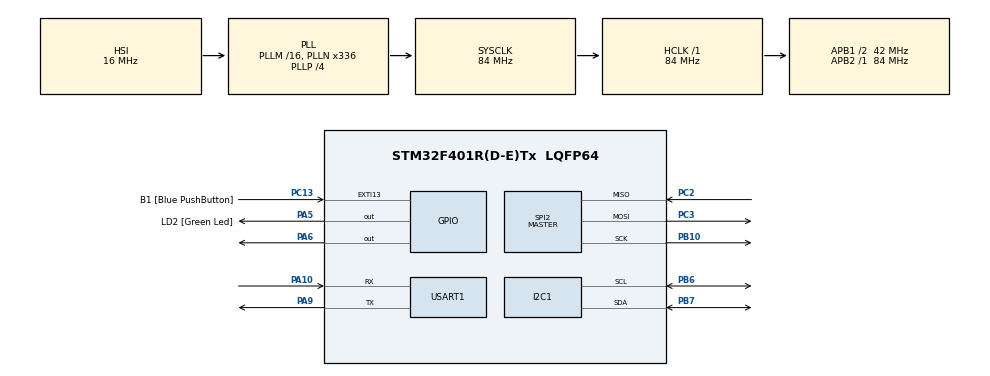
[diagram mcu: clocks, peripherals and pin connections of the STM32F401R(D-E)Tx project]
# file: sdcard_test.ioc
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FATFS._MAX_SS=4096
FATFS._USE_LFN=1
Mcu.Family=STM32F4
Mcu.Name=STM32F401R(D-E)Tx
Mcu.Package=LQFP64
NVIC.PriorityGroup=NVIC_PRIORITYGROUP_4
NVIC.TIM4_IRQn=true\:15\:0\:false\:false\:true\:false\:true\:true
NVIC.TimeBase=TIM4_IRQn
NVIC.TimeBaseIP=TIM4
PA10.Mode=Asynchronous
PA10.Signal=USART1_RX
PA13.GPIO_Label=TMS
PA13.Signal=SYS_JTMS-SWDIO
PA14.GPIO_Label=TCK
PA14.Signal=SYS_JTCK-SWCLK
PA2.GPIO_Label=USART_TX
PA2.GPIO_Mode=GPIO_MODE_AF_PP
PA2.GPIO_PuPd=GPIO_NOPULL
PA2.GPIO_Speed=GPIO_SPEED_FREQ_LOW
PA2.Signal=USART2_TX
PA3.GPIO_Label=USART_RX
PA3.GPIO_Mode=GPIO_MODE_AF_PP
PA3.GPIO_PuPd=GPIO_NOPULL
PA3.GPIO_Speed=GPIO_SPEED_FREQ_LOW
PA3.Signal=USART2_RX
PA5.GPIO_Label=LD2 [Green Led]
PA5.GPIO_Mode=GPIO_MODE_OUTPUT_PP
PA5.GPIO_PuPd=GPIO_NOPULL
PA5.GPIO_Speed=GPIO_SPEED_FREQ_LOW
PA5.Signal=GPIO_Output
PA6.Signal=GPIO_Output
PA9.Mode=Asynchronous
PA9.Signal=USART1_TX
PB10.Mode=Full_Duplex_Master
PB10.Signal=SPI2_SCK
PB3.GPIO_Label=SWO
PB3.Signal=SYS_JTDO-SWO
PB6.Mode=I2C
PB6.Signal=I2C1_SCL
PB7.Mode=I2C
PB7.Signal=I2C1_SDA
PC13-ANTI_TAMP.GPIO_Label=B1 [Blue PushButton]
PC13-ANTI_TAMP.GPIO_ModeDefaultEXTI=GPIO_MODE_IT_FALLING
PC13-ANTI_TAMP.GPIO_PuPd=GPIO_NOPULL
PC13-ANTI_TAMP.Signal=GPXTI13
PC14-OSC32_IN.Signal=RCC_OSC32_IN
PC15-OSC32_OUT.Signal=RCC_OSC32_OUT
PC2.Mode=Full_Duplex_Master
PC2.Signal=SPI2_MISO
PC3.Mode=Full_Duplex_Master
PC3.Signal=SPI2_MOSI
PH0\ -\ OSC_IN.Signal=RCC_OSC_IN
PH1\ -\ OSC_OUT.Signal=RCC_OSC_OUT
ProjectManager.HeapSize=0x200
ProjectManager.StackSize=0x400
ProjectManager.TargetToolchain=STM32CubeIDE
RCC.AHBFreq_Value=84000000
RCC.APB1CLKDivider=RCC_HCLK_DIV2
RCC.APB1Freq_Value=42000000
RCC.APB1TimFreq_Value=84000000
RCC.APB2Freq_Value=84000000
RCC.APB2TimFreq_Value=84000000
RCC.CortexFreq_Value=84000000
RCC.HCLKFreq_Value=84000000
RCC.HSE_VALUE=8000000
RCC.HSI_VALUE=16000000
RCC.LSE_VALUE=32768
RCC.PLLN=336
RCC.PLLP=RCC_PLLP_DIV4
RCC.PLLQ=7
RCC.SYSCLKFreq_VALUE=84000000
RCC.SYSCLKSource=RCC_SYSCLKSOURCE_PLLCLK
RCC.VCOOutputFreq_Value=336000000
SPI2.BaudRatePrescaler=SPI_BAUDRATEPRESCALER_8
SPI2.Direction=SPI_DIRECTION_2LINES
SPI2.Mode=SPI_MODE_MASTER
SPI2.VirtualType=VM_MASTER
USART1.VirtualMode=VM_ASYNC
VP_FATFS_VS_Generic.Mode=User_defined
VP_SYS_VS_tim4.Mode=TIM4
board=NUCLEO-F401RE

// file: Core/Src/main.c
/* USER CODE BEGIN Header */
/**
  ******************************************************************************
  * @file           : main.c
  * @brief          : Main program body
  ******************************************************************************
  * @attention
  *
  * Copyright (c) 2025 STMicroelectronics.
  * All rights reserved.
  *
  * This software is licensed under terms that can be found in the LICENSE file
  * in the root directory of this software component.
  * If no LICENSE file comes with this software, it is provided AS-IS.
  *
  ******************************************************************************
  */
/* USER CODE END Header */
#include "main.h"
#include "fatfs.h"

/* USER CODE BEGIN Includes */
#include "fatfs_sd.h"
#include <string.h>
#include <stdio.h>
#include "FreeRTOS.h"
#include "task.h"
#include "queue.h"
#include "LCD_I2C.h"
#include "print_cli.h"
#include "flash.h"
/* USER CODE END Includes */

I2C_HandleTypeDef hi2c1;

SPI_HandleTypeDef hspi2;

UART_HandleTypeDef huart1;

void SystemClock_Config(void);
static void MX_GPIO_Init(void);
static void MX_SPI2_Init(void);
static void MX_I2C1_Init(void);
static void MX_USART1_UART_Init(void);

/* USER CODE BEGIN 0 */
volatile uint8_t FatFsCnt = 0;
volatile uint8_t Timer1, Timer2;

void SDTimer_Handler(void)
{
  if(Timer1 > 0)
    Timer1--;

  if(Timer2 > 0)
    Timer2--;
}

FATFS fs;  // file system
FIL fil; // File
FILINFO fno;
FRESULT fresult;  // result
UINT br, bw;  // File read/write count

/**** capacity related *****/
FATFS *pfs;
DWORD fre_clust;
uint32_t total, free_space;

#define BUFFER_SIZE 5000
char buffer[BUFFER_SIZE];  // to store strings..

TaskHandle_t handle_sensor_task;
TaskHandle_t handle_print_task;
TaskHandle_t handle_scan_keypad_task;
TaskHandle_t handle_config_task;

void sensor_task(void *param);
void print_task(void *param);
void scan_keypad_task(void *param);
void config_task(void *param);

QueueHandle_t q_print;

CLCD_I2C_Name LCD1;

int bufsize (char *buf)
{
	int i=0;
	while (*buf++ != '\0') i++;
	return i;
}
typedef struct
{
	uint8_t password[11];
	uint8_t s1;
	uint8_t t1;
	uint8_t s2;
	uint8_t t2;
	uint16_t file_counter;
}__attribute__((packed))Parameter_Infor;

void clear_buffer (void)
{
	for (int i=0; i<BUFFER_SIZE; i++) buffer[i] = '\0';
}

Parameter_Infor parameter =
{
		"123123",
		80,
		5,
		20,
		5,
		0
};

Parameter_Infor parameter_read;

char str[15];
int temperature = 15;
/* USER CODE END 0 */

int main(void)
{

  /* USER CODE BEGIN 1 */
	BaseType_t status;
  /* USER CODE END 1 */

  /* MCU Configuration--------------------------------------------------------*/

  /* Reset of all peripherals, Initializes the Flash interface and the Systick. */
  HAL_Init();

  /* Configure the system clock */
  SystemClock_Config();

  /* Initialize all configured peripherals */
  MX_GPIO_Init();
  MX_SPI2_Init();
  MX_FATFS_Init();
  MX_I2C1_Init();
  MX_USART1_UART_Init();
  /* USER CODE BEGIN 2 */
//    fresult = f_mount(&fs, "/", 1);
//  	if (fresult != FR_OK)  printf("ERROR!!! in mounting SD CARD...\n\n");
//  	else printf("SD CARD mounted successfully...\n\n");
//
//
//  	/*************** Card capacity details ********************/
//
//  	/* Check free space */
//  	f_getfree("", &fre_clust, &pfs);
//
//  	total = (uint32_t)((pfs->n_fatent - 2) * pfs->csize * 0.5);
//  	printf("SD CARD Total Size: \t%lu\n",total);
//  	free_space = (uint32_t)(fre_clust * pfs->csize * 0.5);
//  	printf("SD CARD Free Space: \t%lu\n\n",free_space);
//
//
//
//  	/************* The following operation is using PUTS and GETS *********************/
//
//  	/* Open file to write/ create a file if it doesn't exist */
//      fresult = f_open(&fil, "file1.txt", FA_OPEN_ALWAYS | FA_READ | FA_WRITE);
//
//  	/* Writing text */
//  	f_puts("This data is from the FILE1.txt. And it was written using ...f_puts... ", &fil);
//
//  	/* Close file */
//  	fresult = f_close(&fil);
//
//  	if (fresult == FR_OK) printf("File1.txt created and the data is written \n");
//
//  	/* Open file to read */
//  	fresult = f_open(&fil, "file1.txt", FA_READ);
//
//  	/* Read string from the file */
//  	f_gets(buffer, f_size(&fil), &fil);
//
//  	printf("File1.txt is opened and it contains the data as shown below\n");
//  	printf("%s",buffer);
//  	printf("\n\n");
//
//  	/* Close file */
//  	f_close(&fil);
  // write parameter into flash
//     flash_unlock();
//     if(flash_erease(FLASH_SECTOR_6) != HAL_OK){
//    	 flash_erease(FLASH_SECTOR_6);
//     }
//     flash_write_arr(0x08040000,(uint8_t *)&parameter,sizeof(parameter));
//     flash_lock();

  // read parameter from flash
//  flash_unlock();
  flash_read_arr(0x08040000, (uint8_t*)&parameter_read, sizeof(parameter_read));
//  flash_lock();
  print_cli("read first - s1:%d s2:%d s3:%d s4:%d count:%d\n",parameter_read.s1,parameter_read.t1,parameter_read.s2,parameter_read.t2,parameter_read.file_counter);

  sprintf(str, "file%d.txt", parameter_read.file_counter);
  print_cli("%s\n",str);
  parameter_read.file_counter = parameter_read.file_counter + 1;
       flash_unlock();
       if(flash_erease(FLASH_SECTOR_6) != HAL_OK){
      	 flash_erease(FLASH_SECTOR_6);
       }
       flash_write_arr(0x08040000,(uint8_t *)&parameter_read,sizeof(parameter_read));
       flash_lock();

    fresult = f_mount(&fs, "/", 1);
	if (fresult != FR_OK)  print_cli("ERROR!!! in mounting SD CARD...\n\n");
	else print_cli("SD CARD mounted successfully...\n\n");

				  	fresult = f_open(&fil, "file80.txt", FA_READ);
				  	if (fresult == FR_OK) print_cli("file2.txt is open and the data is shown below\n");

				  	UINT file_size = f_size(&fil);
					if (file_size == 0 || file_size > sizeof(buffer)) {
					    print_cli("File size is invalid! %u\n",file_size);
					    f_close(&fil);
					    return;
					}
				  	/* Read data from the file
				  	 * Please see the function details for the arguments */
				  	f_read (&fil, buffer, f_size(&fil), &br);
				  	print_cli(buffer);
				  	print_cli("\n\n");

				  	/* Close file */
				  	f_close(&fil);

				  	clear_buffer();
	CLCD_I2C_Init(&LCD1,&hi2c1,0x4e,20,4);
	CLCD_I2C_SetCursor(&LCD1, 0, 0);

    status = xTaskCreate(sensor_task, "sensor_task", 250, NULL, 2, &handle_sensor_task);

    configASSERT(status);

    status = xTaskCreate(scan_keypad_task, "scan_keypad_task", 250, NULL, 2, &handle_scan_keypad_task);

    configASSERT(status);

    status = xTaskCreate(config_task, "config_task", 250, NULL, 2, &handle_config_task);

    configASSERT(status);

    status = xTaskCreate(print_task, "print_task", 500, NULL, 2, &handle_print_task);

    configASSERT(status);

    q_print = xQueueCreate(10, sizeof(size_t));

    configASSERT(q_print != NULL);

    printf("created tasks sucessfully\n");

    vTaskStartScheduler();
  /* USER CODE END 2 */

  /* Infinite loop */
  while (1)
  {

  }
}

void SystemClock_Config(void)
{
  RCC_OscInitTypeDef RCC_OscInitStruct = {0};
  RCC_ClkInitTypeDef RCC_ClkInitStruct = {0};

  /** Configure the main internal regulator output voltage
  */
  __HAL_RCC_PWR_CLK_ENABLE();
  __HAL_PWR_VOLTAGESCALING_CONFIG(PWR_REGULATOR_VOLTAGE_SCALE2);

  /** Initializes the RCC Oscillators according to the specified parameters
  * in the RCC_OscInitTypeDef structure.
  */
  RCC_OscInitStruct.OscillatorType = RCC_OSCILLATORTYPE_HSI;
  RCC_OscInitStruct.HSIState = RCC_HSI_ON;
  RCC_OscInitStruct.HSICalibrationValue = RCC_HSICALIBRATION_DEFAULT;
  RCC_OscInitStruct.PLL.PLLState = RCC_PLL_ON;
  RCC_OscInitStruct.PLL.PLLSource = RCC_PLLSOURCE_HSI;
  RCC_OscInitStruct.PLL.PLLM = 16;
  RCC_OscInitStruct.PLL.PLLN = 336;
  RCC_OscInitStruct.PLL.PLLP = RCC_PLLP_DIV4;
  RCC_OscInitStruct.PLL.PLLQ = 7;
  if (HAL_RCC_OscConfig(&RCC_OscInitStruct) != HAL_OK)
  {
    Error_Handler();
  }

  /** Initializes the CPU, AHB and APB buses clocks
  */
  RCC_ClkInitStruct.ClockType = RCC_CLOCKTYPE_HCLK|RCC_CLOCKTYPE_SYSCLK
                              |RCC_CLOCKTYPE_PCLK1|RCC_CLOCKTYPE_PCLK2;
  RCC_ClkInitStruct.SYSCLKSource = RCC_SYSCLKSOURCE_PLLCLK;
  RCC_ClkInitStruct.AHBCLKDivider = RCC_SYSCLK_DIV1;
  RCC_ClkInitStruct.APB1CLKDivider = RCC_HCLK_DIV2;
  RCC_ClkInitStruct.APB2CLKDivider = RCC_HCLK_DIV1;

  if (HAL_RCC_ClockConfig(&RCC_ClkInitStruct, FLASH_LATENCY_2) != HAL_OK)
  {
    Error_Handler();
  }
}

static void MX_I2C1_Init(void)
{

  hi2c1.Instance = I2C1;
  hi2c1.Init.ClockSpeed = 100000;
  hi2c1.Init.DutyCycle = I2C_DUTYCYCLE_2;
  hi2c1.Init.OwnAddress1 = 0;
  hi2c1.Init.AddressingMode = I2C_ADDRESSINGMODE_7BIT;
  hi2c1.Init.DualAddressMode = I2C_DUALADDRESS_DISABLE;
  hi2c1.Init.OwnAddress2 = 0;
  hi2c1.Init.GeneralCallMode = I2C_GENERALCALL_DISABLE;
  hi2c1.Init.NoStretchMode = I2C_NOSTRETCH_DISABLE;
  if (HAL_I2C_Init(&hi2c1) != HAL_OK)
  {
    Error_Handler();
  }

}

static void MX_SPI2_Init(void)
{

  /* SPI2 parameter configuration*/
  hspi2.Instance = SPI2;
  hspi2.Init.Mode = SPI_MODE_MASTER;
  hspi2.Init.Direction = SPI_DIRECTION_2LINES;
  hspi2.Init.DataSize = SPI_DATASIZE_8BIT;
  hspi2.Init.CLKPolarity = SPI_POLARITY_LOW;
  hspi2.Init.CLKPhase = SPI_PHASE_1EDGE;
  hspi2.Init.NSS = SPI_NSS_SOFT;
  hspi2.Init.BaudRatePrescaler = SPI_BAUDRATEPRESCALER_8;
  hspi2.Init.FirstBit = SPI_FIRSTBIT_MSB;
  hspi2.Init.TIMode = SPI_TIMODE_DISABLE;
  hspi2.Init.CRCCalculation = SPI_CRCCALCULATION_DISABLE;
  hspi2.Init.CRCPolynomial = 10;
  if (HAL_SPI_Init(&hspi2) != HAL_OK)
  {
    Error_Handler();
  }

}

static void MX_USART1_UART_Init(void)
{

  huart1.Instance = USART1;
  huart1.Init.BaudRate = 115200;
  huart1.Init.WordLength = UART_WORDLENGTH_8B;
  huart1.Init.StopBits = UART_STOPBITS_1;
  huart1.Init.Parity = UART_PARITY_NONE;
  huart1.Init.Mode = UART_MODE_TX_RX;
  huart1.Init.HwFlowCtl = UART_HWCONTROL_NONE;
  huart1.Init.OverSampling = UART_OVERSAMPLING_16;
  if (HAL_UART_Init(&huart1) != HAL_OK)
  {
    Error_Handler();
  }

}

static void MX_GPIO_Init(void)
{
  GPIO_InitTypeDef GPIO_InitStruct = {0};

  /* GPIO Ports Clock Enable */
  __HAL_RCC_GPIOC_CLK_ENABLE();
  __HAL_RCC_GPIOH_CLK_ENABLE();
  __HAL_RCC_GPIOA_CLK_ENABLE();
  __HAL_RCC_GPIOB_CLK_ENABLE();

  /*Configure GPIO pin Output Level */
  HAL_GPIO_WritePin(GPIOA, LD2_Pin|GPIO_PIN_6, GPIO_PIN_RESET);

  /*Configure GPIO pin : B1_Pin */
  GPIO_InitStruct.Pin = B1_Pin;
  GPIO_InitStruct.Mode = GPIO_MODE_IT_FALLING;
  GPIO_InitStruct.Pull = GPIO_NOPULL;
  HAL_GPIO_Init(B1_GPIO_Port, &GPIO_InitStruct);

  /*Configure GPIO pins : USART_TX_Pin USART_RX_Pin */
  GPIO_InitStruct.Pin = USART_TX_Pin|USART_RX_Pin;
  GPIO_InitStruct.Mode = GPIO_MODE_AF_PP;
  GPIO_InitStruct.Pull = GPIO_NOPULL;
  GPIO_InitStruct.Speed = GPIO_SPEED_FREQ_LOW;
  GPIO_InitStruct.Alternate = GPIO_AF7_USART2;
  HAL_GPIO_Init(GPIOA, &GPIO_InitStruct);

  /*Configure GPIO pins : LD2_Pin PA6 */
  GPIO_InitStruct.Pin = LD2_Pin|GPIO_PIN_6;
  GPIO_InitStruct.Mode = GPIO_MODE_OUTPUT_PP;
  GPIO_InitStruct.Pull = GPIO_NOPULL;
  GPIO_InitStruct.Speed = GPIO_SPEED_FREQ_LOW;
  HAL_GPIO_Init(GPIOA, &GPIO_InitStruct);

}

/* USER CODE BEGIN 4 */
void sensor_task(void *param){
	while(1){
		CLCD_I2C_WriteString(&LCD1, "sensor");
		printf("sensor task\n");
		vTaskDelay(1000);
	}
}
void print_task(void *param){
	while(1){
//	    fresult = f_mount(&fs, "/", 1);
//	  	if (fresult != FR_OK)  printf("ERROR!!! in mounting SD CARD...\n\n");
//	  	else printf("SD CARD mounted successfully...\n\n");

//	  	/*************** Card capacity details ********************/
//
//	  	/* Check free space */
//	  	f_getfree("", &fre_clust, &pfs);
//
//	  	total = (uint32_t)((pfs->n_fatent - 2) * pfs->csize * 0.5);
//	  	printf("SD CARD Total Size: \t%lu\n",total);
//	  	free_space = (uint32_t)(fre_clust * pfs->csize * 0.5);
//	  	printf("SD CARD Free Space: \t%lu\n\n",free_space);
//
//
//
//	  	/************* The following operation is using PUTS and GETS *********************/
//
//	  	/* Open file to write/ create a file if it doesn't exist */
//	      fresult = f_open(&fil, "file1.txt", FA_OPEN_ALWAYS | FA_READ | FA_WRITE);
//
//	  	/* Writing text */
//	  	f_puts("This data is from the FILE1.txt. And it was written using ...f_puts... ", &fil);
//
//	  	/* Close file */
//	  	fresult = f_close(&fil);
//
//	  	if (fresult == FR_OK) printf("File1.txt created and the data is written \n");
//
//	  	/* Open file to read */
//	  	fresult = f_open(&fil, "file1.txt", FA_READ);
//
//	  	/* Read string from the file */
//	  	f_gets(buffer, f_size(&fil), &fil);
//
//	  	printf("File1.txt is opened and it contains the data as shown below\n");
//	  	printf("%s",buffer);
//	  	CLCD_I2C_Clear(&LCD1);
//	  	CLCD_I2C_WriteString(&LCD1, buffer);
//	  	printf("\n\n");
//
//	  	/* Close file */
//	  	f_close(&fil);

		//		  	/**************** The following operation is using f_write and f_read **************************/

			  	/* Create second file with read write access and open it */
//			  	fresult = f_open(&fil, "file2.txt", FA_CREATE_ALWAYS | FA_WRITE);
//			  	if (fresult == FR_OK) print_cli("open ok\n");
//
//			  	/* Writing text */
//			  	strcpy (buffer, "This is File2.txt, written using ...f_write... and it says Hello from Controllerstech\n");
//
//			  	fresult = f_write(&fil, buffer, bufsize(buffer), &bw);
//			  	if (fresult == FR_OK) print_cli("write ok\n");
//			  	 print_cli("File2.txt created and data is written\n");
//
//			  	/* Close file */
//			  	f_close(&fil);

			  	// clearing buffer to show that result obtained is from the file
			  	//clear_buffer();

			  	/* Open second file to read */
//			  	fresult = f_open(&fil, "file79.txt", FA_READ);
//			  	if (fresult == FR_OK) print_cli("file2.txt is open and the data is shown below\n");
//
//			  	UINT file_size = f_size(&fil);
//				if (file_size == 0 || file_size > sizeof(buffer)) {
//				    print_cli("File size is invalid! %u\n",file_size);
//				    f_close(&fil);
//				    return;
//				}
//			  	/* Read data from the file
//			  	 * Please see the function details for the arguments */
//			  	f_read (&fil, buffer, f_size(&fil), &br);
//			  	print_cli(buffer);
//			  	print_cli("\n\n");
//
//			  	/* Close file */
//			  	f_close(&fil);
//
//			  	clear_buffer();
		fresult = f_open(&fil, "file79.txt", FA_READ);
		if (fresult != FR_OK) {
		    print_cli("Failed to open file79.txt! Error code: %d\n", fresult);
		    return;
		}
		print_cli("file79.txt is open and the data is shown below\n");

		UINT file_size = f_size(&fil);
		print_cli("File size: %u bytes\n", file_size);

		if (file_size == 0 || file_size > sizeof(buffer)) {
		    print_cli("File size is invalid!\n");
		    f_close(&fil);
		    return;
		}

		// Đọc file từng khối nhỏ
		UINT bytes_read_total = 0;
		#define CHUNK_SIZE 512
		char buffer[CHUNK_SIZE + 1];

		while (bytes_read_total < file_size) {
		    UINT bytes_to_read = (file_size - bytes_read_total > CHUNK_SIZE) ? CHUNK_SIZE : (file_size - bytes_read_total);
		    FRESULT res = f_read(&fil, buffer, bytes_to_read, &br);

		    if (res != FR_OK) {
		        print_cli("f_read failed! Error: %d\n", res);
		        break;
		    }

		    buffer[br] = '\0';
		    print_cli(buffer);
		    bytes_read_total += br;
		}

		f_close(&fil);
		print_cli("\n\n");
		clear_buffer();

				vTaskDelay(pdMS_TO_TICKS(10000));
			}

}
void scan_keypad_task(void *param){
	while(1){

	}
}
void config_task(void *param){

	while(1){

	}

}
/* USER CODE END 4 */

void HAL_TIM_PeriodElapsedCallback(TIM_HandleTypeDef *htim)
{
  /* USER CODE BEGIN Callback 0 */
	  FatFsCnt++;
	  if(FatFsCnt >= 10)
	  {
	    FatFsCnt = 0;
	    SDTimer_Handler();
	  }

  /* USER CODE END Callback 0 */
  if (htim->Instance == TIM4) {
    HAL_IncTick();
  }
}

void Error_Handler(void)
{
  __disable_irq();
  while (1)
  {
  }
}
